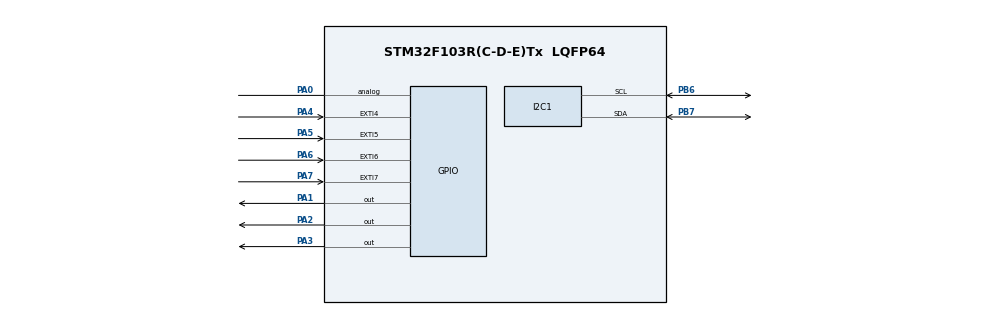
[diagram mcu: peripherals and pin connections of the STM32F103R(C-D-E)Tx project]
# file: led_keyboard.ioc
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I2C1.I2C_Mode=I2C_Fast
Mcu.Family=STM32F1
Mcu.Name=STM32F103R(C-D-E)Tx
Mcu.Package=LQFP64
NVIC.EXTI4_IRQn=true\:0\:0\:false\:false\:true\:true
NVIC.EXTI9_5_IRQn=true\:0\:0\:false\:false\:true\:true
NVIC.PriorityGroup=NVIC_PRIORITYGROUP_4
PA0-WKUP.Signal=GPIO_Analog
PA1.Signal=GPIO_Output
PA13.Mode=Serial_Wire
PA13.Signal=SYS_JTMS-SWDIO
PA14.Mode=Serial_Wire
PA14.Signal=SYS_JTCK-SWCLK
PA2.Signal=GPIO_Output
PA3.Signal=GPIO_Output
PA4.Signal=GPXTI4
PA5.Signal=GPXTI5
PA6.Signal=GPXTI6
PA7.Signal=GPXTI7
PB6.Mode=I2C
PB6.Signal=I2C1_SCL
PB7.Mode=I2C
PB7.Signal=I2C1_SDA
ProjectManager.HeapSize=0x200
ProjectManager.StackSize=0x400
ProjectManager.TargetToolchain=MDK-ARM V5
RCC.APB1Freq_Value=8000000
RCC.APB2Freq_Value=8000000
board=custom

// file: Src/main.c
/**
  ******************************************************************************
  * @file           : main.c
  * @brief          : Main program body
  ******************************************************************************
  ** This notice applies to any and all portions of this file
  * that are not between comment pairs USER CODE BEGIN and
  * USER CODE END. Other portions of this file, whether
  * inserted by the user or by software development tools
  * are owned by their respective copyright owners.
  *
  * COPYRIGHT(c) 2019 STMicroelectronics
  *
  * Redistribution and use in source and binary forms, with or without modification,
  * are permitted provided that the following conditions are met:
  *   1. Redistributions of source code must retain the above copyright notice,
  *      this list of conditions and the following disclaimer.
  *   2. Redistributions in binary form must reproduce the above copyright notice,
  *      this list of conditions and the following disclaimer in the documentation
  *      and/or other materials provided with the distribution.
  *   3. Neither the name of STMicroelectronics nor the names of its contributors
  *      may be used to endorse or promote products derived from this software
  *      without specific prior written permission.
  *
  * THIS SOFTWARE IS PROVIDED BY THE COPYRIGHT HOLDERS AND CONTRIBUTORS "AS IS"
  * AND ANY EXPRESS OR IMPLIED WARRANTIES, INCLUDING, BUT NOT LIMITED TO, THE
  * IMPLIED WARRANTIES OF MERCHANTABILITY AND FITNESS FOR A PARTICULAR PURPOSE ARE
  * DISCLAIMED. IN NO EVENT SHALL THE COPYRIGHT HOLDER OR CONTRIBUTORS BE LIABLE
  * FOR ANY DIRECT, INDIRECT, INCIDENTAL, SPECIAL, EXEMPLARY, OR CONSEQUENTIAL
  * DAMAGES (INCLUDING, BUT NOT LIMITED TO, PROCUREMENT OF SUBSTITUTE GOODS OR
  * SERVICES; LOSS OF USE, DATA, OR PROFITS; OR BUSINESS INTERRUPTION) HOWEVER
  * CAUSED AND ON ANY THEORY OF LIABILITY, WHETHER IN CONTRACT, STRICT LIABILITY,
  * OR TORT (INCLUDING NEGLIGENCE OR OTHERWISE) ARISING IN ANY WAY OUT OF THE USE
  * OF THIS SOFTWARE, EVEN IF ADVISED OF THE POSSIBILITY OF SUCH DAMAGE.
  *
  ******************************************************************************
  */
#include "main.h"
#include "stm32f1xx_hal.h"

/* USER CODE BEGIN Includes */
#include "OLED.h"
#include "keyboard.h"
/* USER CODE END Includes */

I2C_HandleTypeDef hi2c1;

/* USER CODE BEGIN PV */
/* Private variables ---------------------------------------------------------*/

/* USER CODE END PV */

void SystemClock_Config(void);
static void MX_GPIO_Init(void);
static void MX_I2C1_Init(void);

/* USER CODE BEGIN PFP */
/* Private function prototypes -----------------------------------------------*/

/* USER CODE END PFP */

/* USER CODE BEGIN 0 */
char disbuf[16];
int cnt=0;
int previous_ticks=0;
void HAL_GPIO_EXTI_Callback(uint16_t GPIO_Pin)
{
	char keynum;
	int ticks;

	ticks=HAL_GetTick();
	if(ticks-previous_ticks<200)
	{
		return ;
	}
	previous_ticks=ticks;

	cnt=cnt+1;
	keynum=Get_KeyNum(GPIO_Pin);
	sprintf(disbuf,"U press %c %d times",keynum,cnt);
	OLED_ShowStr(0,0,(uint8_t *)disbuf,CODE8X16);
	fflash();

}
/* USER CODE END 0 */

int main(void)
{

  /* MCU Configuration----------------------------------------------------------*/

  /* Reset of all peripherals, Initializes the Flash interface and the Systick. */
  HAL_Init();

  /* Configure the system clock */
  SystemClock_Config();

  /* Initialize all configured peripherals */
  MX_GPIO_Init();
  MX_I2C1_Init();
  /* USER CODE BEGIN 2 */
  OLED_Init();
	OLED_CLS();
	OLED_ShowStr(0,16,(uint8_t *)"Welcome",CODE8X16);
	fflash();
	HAL_Delay(5000);
	OLED_CLS();

	Key_Bord_Init();
  /* USER CODE END 2 */

  /* Infinite loop */
  while (1)
  {

  }

}

void SystemClock_Config(void)
{

  RCC_OscInitTypeDef RCC_OscInitStruct;
  RCC_ClkInitTypeDef RCC_ClkInitStruct;

    /**Initializes the CPU, AHB and APB busses clocks
    */
  RCC_OscInitStruct.OscillatorType = RCC_OSCILLATORTYPE_HSI;
  RCC_OscInitStruct.HSIState = RCC_HSI_ON;
  RCC_OscInitStruct.HSICalibrationValue = 16;
  RCC_OscInitStruct.PLL.PLLState = RCC_PLL_NONE;
  if (HAL_RCC_OscConfig(&RCC_OscInitStruct) != HAL_OK)
  {
    _Error_Handler(__FILE__, __LINE__);
  }

    /**Initializes the CPU, AHB and APB busses clocks
    */
  RCC_ClkInitStruct.ClockType = RCC_CLOCKTYPE_HCLK|RCC_CLOCKTYPE_SYSCLK
                              |RCC_CLOCKTYPE_PCLK1|RCC_CLOCKTYPE_PCLK2;
  RCC_ClkInitStruct.SYSCLKSource = RCC_SYSCLKSOURCE_HSI;
  RCC_ClkInitStruct.AHBCLKDivider = RCC_SYSCLK_DIV1;
  RCC_ClkInitStruct.APB1CLKDivider = RCC_HCLK_DIV1;
  RCC_ClkInitStruct.APB2CLKDivider = RCC_HCLK_DIV1;

  if (HAL_RCC_ClockConfig(&RCC_ClkInitStruct, FLASH_LATENCY_0) != HAL_OK)
  {
    _Error_Handler(__FILE__, __LINE__);
  }

    /**Configure the Systick interrupt time
    */
  HAL_SYSTICK_Config(HAL_RCC_GetHCLKFreq()/1000);

    /**Configure the Systick
    */
  HAL_SYSTICK_CLKSourceConfig(SYSTICK_CLKSOURCE_HCLK);

  /* SysTick_IRQn interrupt configuration */
  HAL_NVIC_SetPriority(SysTick_IRQn, 0, 0);
}

/* I2C1 init function */
static void MX_I2C1_Init(void)
{

  hi2c1.Instance = I2C1;
  hi2c1.Init.ClockSpeed = 400000;
  hi2c1.Init.DutyCycle = I2C_DUTYCYCLE_2;
  hi2c1.Init.OwnAddress1 = 0;
  hi2c1.Init.AddressingMode = I2C_ADDRESSINGMODE_7BIT;
  hi2c1.Init.DualAddressMode = I2C_DUALADDRESS_DISABLE;
  hi2c1.Init.OwnAddress2 = 0;
  hi2c1.Init.GeneralCallMode = I2C_GENERALCALL_DISABLE;
  hi2c1.Init.NoStretchMode = I2C_NOSTRETCH_DISABLE;
  if (HAL_I2C_Init(&hi2c1) != HAL_OK)
  {
    _Error_Handler(__FILE__, __LINE__);
  }

}

/** Configure pins as
        * Analog
        * Input
        * Output
        * EVENT_OUT
        * EXTI
*/
static void MX_GPIO_Init(void)
{

  GPIO_InitTypeDef GPIO_InitStruct;

  /* GPIO Ports Clock Enable */
  __HAL_RCC_GPIOA_CLK_ENABLE();
  __HAL_RCC_GPIOB_CLK_ENABLE();

  /*Configure GPIO pin Output Level */
  HAL_GPIO_WritePin(GPIOA, GPIO_PIN_1|GPIO_PIN_2|GPIO_PIN_3, GPIO_PIN_RESET);

  /*Configure GPIO pin : PA0 */
  GPIO_InitStruct.Pin = GPIO_PIN_0;
  GPIO_InitStruct.Mode = GPIO_MODE_ANALOG;
  HAL_GPIO_Init(GPIOA, &GPIO_InitStruct);

  /*Configure GPIO pins : PA1 PA2 PA3 */
  GPIO_InitStruct.Pin = GPIO_PIN_1|GPIO_PIN_2|GPIO_PIN_3;
  GPIO_InitStruct.Mode = GPIO_MODE_OUTPUT_PP;
  GPIO_InitStruct.Pull = GPIO_NOPULL;
  GPIO_InitStruct.Speed = GPIO_SPEED_FREQ_LOW;
  HAL_GPIO_Init(GPIOA, &GPIO_InitStruct);

  /*Configure GPIO pins : PA4 PA5 PA6 PA7 */
  GPIO_InitStruct.Pin = GPIO_PIN_4|GPIO_PIN_5|GPIO_PIN_6|GPIO_PIN_7;
  GPIO_InitStruct.Mode = GPIO_MODE_IT_RISING;
  GPIO_InitStruct.Pull = GPIO_NOPULL;
  HAL_GPIO_Init(GPIOA, &GPIO_InitStruct);

  /* EXTI interrupt init*/
  HAL_NVIC_SetPriority(EXTI4_IRQn, 0, 0);
  HAL_NVIC_EnableIRQ(EXTI4_IRQn);

  HAL_NVIC_SetPriority(EXTI9_5_IRQn, 0, 0);
  HAL_NVIC_EnableIRQ(EXTI9_5_IRQn);

}

void _Error_Handler(char *file, int line)
{
  while(1)
  {
  }
}

/************************ (C) COPYRIGHT STMicroelectronics *****END OF FILE****/
